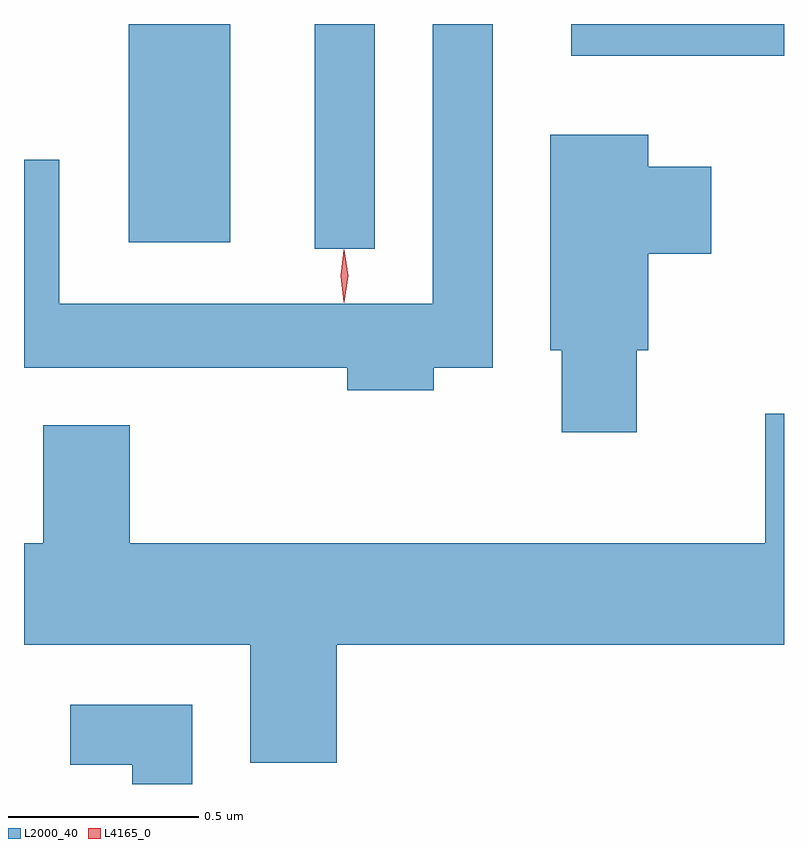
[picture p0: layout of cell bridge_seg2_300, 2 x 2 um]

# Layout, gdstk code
import gdstk
lib = gdstk.Library(unit=1e-6, precision=1e-09)
def R(c, l, rs):  # rectangles x0, y0, x1, y1
    for r in rs: c.add(gdstk.rectangle(r[:2], r[2:], *l))
def P(c, l, *ps):  # polygons
    for p in ps: c.add(gdstk.Polygon(p, *l))
L2000_40 = (2000, 40)
L4165_0 = (4165, 0)

bridge_seg2_300 = lib.new_cell('bridge_seg2_300')
R(bridge_seg2_300, L2000_40, [(545.796,1113.738,545.954,1114.33), (545.306,1113.756,545.574,1114.33), (546.471,1114.246,547.031,1114.33)])
P(bridge_seg2_300, L2000_40, [(546.109,1113.426),(546.264,1113.426),(546.264,1114.33),(546.106,1114.33),(546.106,1113.594),(545.124,1113.594),(545.124,1113.973),(545.031,1113.973),(545.031,1113.426),(545.881,1113.426),(545.881,1113.366),(546.109,1113.366)],
  [(546.644,1113.471),(546.674,1113.471),(546.674,1113.726),(546.839,1113.726),(546.839,1113.954),(546.674,1113.954),(546.674,1114.039),(546.416,1114.039),(546.416,1113.471),(546.446,1113.471),(546.446,1113.256),(546.644,1113.256)],
  [(545.854,1112.696),(547.031,1112.696),(547.031,1113.304),(546.981,1113.304),(546.981,1112.964),(545.309,1112.964),(545.309,1113.274),(545.081,1113.274),(545.081,1112.964),(545.031,1112.964),(545.031,1112.696),(545.626,1112.696),(545.626,1112.386),(545.854,1112.386)],
  [(545.474,1112.539),(545.153,1112.539),(545.153,1112.381),(545.316,1112.381),(545.316,1112.33),(545.474,1112.33)])
P(bridge_seg2_300, L4165_0, [(545.874,1113.597),(545.873,1113.598),(545.864,1113.667),(545.873,1113.736),(545.874,1113.736),(545.874,1113.736),(545.884,1113.667),(545.874,1113.598)])

lib.write_gds('bridge_seg2_300.gds')
